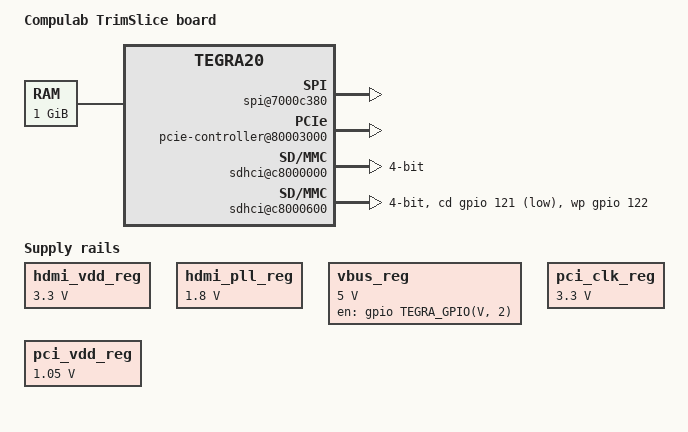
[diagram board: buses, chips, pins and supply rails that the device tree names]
/dts-v1/;

#include "tegra20.dtsi"

/ {
	model = "Compulab TrimSlice board";
	compatible = "compulab,trimslice", "nvidia,tegra20";

	chosen {
		stdout-path = &uarta;
	};

	aliases {
		usb0 = "/usb@c5008000";
		usb1 = "/usb@c5000000";
		sdhci0 = "/sdhci@c8000600";
		sdhci1 = "/sdhci@c8000000";
		spi0 = "/spi@7000c380";
	};

	memory {
		reg = <0x00000000 0x40000000>;
	};

	serial@70006000 {
		clock-frequency = <216000000>;
	};

	i2c@7000c000 {
		status = "disabled";
	};

	spi@7000c380 {
		status = "okay";
		spi-max-frequency = <25000000>;
	};

	i2c@7000c400 {
		status = "disabled";
	};

	i2c@7000c500 {
		status = "disabled";
	};

	i2c@7000d000 {
		status = "disabled";
	};

	pcie-controller@80003000 {
		status = "okay";

		avdd-pex-supply = <&pci_vdd_reg>;
		vdd-pex-supply = <&pci_vdd_reg>;
		avdd-pex-pll-supply = <&pci_vdd_reg>;
		avdd-plle-supply = <&pci_vdd_reg>;
		vddio-pex-clk-supply = <&pci_clk_reg>;

		pci@1,0 {
			status = "okay";
		};
	};

	usb@c5000000 {
		nvidia,vbus-gpio = <&gpio 170 0>; /* PV2 */
	};

	usb@c5004000 {
		status = "disabled";
	};

	sdhci@c8000000 {
		status = "okay";
		bus-width = <4>;
	};

	sdhci@c8000600 {
		status = "okay";
		cd-gpios = <&gpio 121 1>; /* gpio PP1 */
		wp-gpios = <&gpio 122 0>; /* gpio PP2 */
		bus-width = <4>;
	};

	regulators {
		compatible = "simple-bus";
		#address-cells = <1>;
		#size-cells = <0>;

		hdmi_vdd_reg: regulator@0 {
			compatible = "regulator-fixed";
			reg = <0>;
			regulator-name = "avdd_hdmi";
			regulator-min-microvolt = <3300000>;
			regulator-max-microvolt = <3300000>;
			regulator-always-on;
		};

		hdmi_pll_reg: regulator@1 {
			compatible = "regulator-fixed";
			reg = <1>;
			regulator-name = "avdd_hdmi_pll";
			regulator-min-microvolt = <1800000>;
			regulator-max-microvolt = <1800000>;
			regulator-always-on;
		};

		vbus_reg: regulator@2 {
			compatible = "regulator-fixed";
			reg = <2>;
			regulator-name = "usb1_vbus";
			regulator-min-microvolt = <5000000>;
			regulator-max-microvolt = <5000000>;
			enable-active-high;
			gpio = <&gpio TEGRA_GPIO(V, 2) 0>;
			regulator-always-on;
			regulator-boot-on;
		};

		pci_clk_reg: regulator@3 {
			compatible = "regulator-fixed";
			reg = <3>;
			regulator-name = "pci_clk";
			regulator-min-microvolt = <3300000>;
			regulator-max-microvolt = <3300000>;
			regulator-always-on;
		};

		pci_vdd_reg: regulator@4 {
			compatible = "regulator-fixed";
			reg = <4>;
			regulator-name = "pci_vdd";
			regulator-min-microvolt = <1050000>;
			regulator-max-microvolt = <1050000>;
			regulator-always-on;
		};
	};

};
